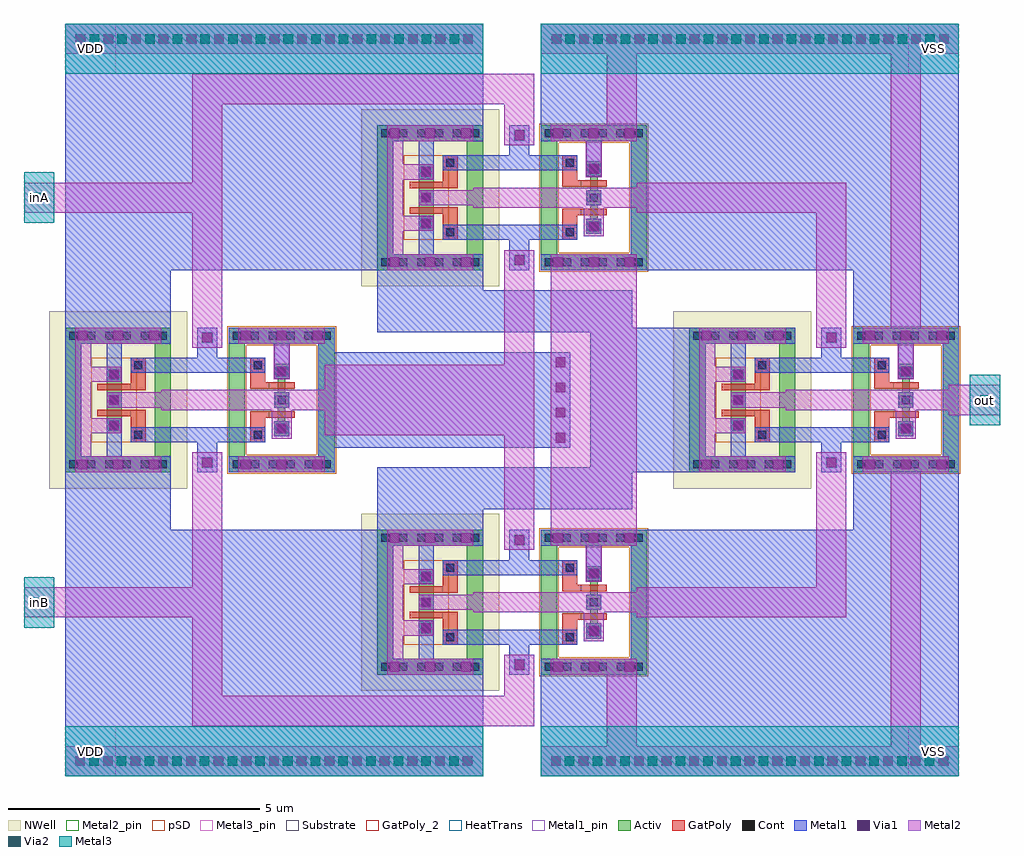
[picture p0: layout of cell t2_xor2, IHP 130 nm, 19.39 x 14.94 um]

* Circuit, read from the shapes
.subckt t2_xor2 VDD VSS inA inB out
XM1 n1 inB t2_nand2_0/inA VSS sg13_lv_nmos w=0.15u l=0.13u
XM2 VSS inA n1 VSS sg13_lv_nmos w=0.15u l=0.13u
XM3 n2 inB t2_nand2_2/inB VSS sg13_lv_nmos w=0.15u l=0.13u
XM4 VSS t2_nand2_0/inA n2 VSS sg13_lv_nmos w=0.15u l=0.13u
XM5 n3 t2_nand2_0/inA t2_nand2_2/inA VSS sg13_lv_nmos w=0.15u l=0.13u
XM6 VSS inA n3 VSS sg13_lv_nmos w=0.15u l=0.13u
XM7 n4 t2_nand2_2/inB out VSS sg13_lv_nmos w=0.15u l=0.13u
XM8 VSS t2_nand2_2/inA n4 VSS sg13_lv_nmos w=0.15u l=0.13u
XM9 t2_nand2_0/inA inB VDD VDD sg13_lv_pmos w=0.3u l=0.13u
XM10 VDD inA t2_nand2_0/inA VDD sg13_lv_pmos w=0.3u l=0.13u
XM11 t2_nand2_2/inB inB VDD VDD sg13_lv_pmos w=0.3u l=0.13u
XM12 VDD t2_nand2_0/inA t2_nand2_2/inB VDD sg13_lv_pmos w=0.3u l=0.13u
XM13 t2_nand2_2/inA t2_nand2_0/inA VDD VDD sg13_lv_pmos w=0.3u l=0.13u
XM14 VDD inA t2_nand2_2/inA VDD sg13_lv_pmos w=0.3u l=0.13u
XM15 out t2_nand2_2/inB VDD VDD sg13_lv_pmos w=0.3u l=0.13u
XM16 VDD t2_nand2_2/inA out VDD sg13_lv_pmos w=0.3u l=0.13u
.ends

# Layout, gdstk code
from math import pi, radians
import gdstk
lib = gdstk.Library(unit=1e-6, precision=1e-09)
def R(c, l, rs):  # rectangles x0, y0, x1, y1
    for r in rs: c.add(gdstk.rectangle(r[:2], r[2:], *l))
def A(c, l, x, y, w, h, nx, ny, dx, dy):  # array of equal rectangles
    R(c, l, [(x+i*dx, y+j*dy, x+i*dx+w, y+j*dy+h) for i in range(nx) for j in range(ny)])
Activ = (1, 0)
GatPoly = (5, 0)
GatPoly_2 = (5, 2)
Cont = (6, 0)
Metal1 = (8, 0)
Metal1_pin = (8, 2)
Metal2 = (10, 0)
Metal2_pin = (10, 2)
pSD = (14, 0)
Via1 = (19, 0)
Via2 = (29, 0)
Metal3 = (30, 0)
Metal3_pin = (30, 2)
NWell = (31, 0)
Substrate = (40, 0)
HeatTrans = (51, 0)

pmos = lib.new_cell('pmos')
R(pmos, Activ, [(0,0,0.3,0.3), (0,0,0.81,0.3), (0.51,0,0.81,0.3)])
R(pmos, GatPoly, [(0.34,-0.18,0.47,0.48), (0.34,-0.18,0.47,0.48)])
R(pmos, Cont, [(0.07,0.07,0.23,0.23), (0.58,0.07,0.74,0.23)])
R(pmos, Metal1, [(0.07,0,0.23,0.3), (0.07,0,0.23,0.3), (0.58,0,0.74,0.3), (0.58,0,0.74,0.3)])
R(pmos, pSD, [(-0.18,-0.3,0.99,0.6)])
R(pmos, NWell, [(-0.31,-0.31,1.12,0.61)])
R(pmos, Substrate, [(0.51,0,0.81,0.3)])
R(pmos, HeatTrans, [(0.34,-0.18,0.47,0.48)])
pmos.add(gdstk.Label('pmos', (0.405,0.15), layer=63, texttype=0))
pmos.add(gdstk.Label('pmos', (0.405,0.15), layer=51, texttype=0))

nmos = lib.new_cell('nmos')
R(nmos, Activ, [(0,0,0.3,0.3), (0.57,0,0.87,0.3), (0,0.075,0.87,0.225)])
R(nmos, GatPoly, [(0.37,-0.105,0.5,0.405)])
R(nmos, GatPoly_2, [(0.37,-0.105,0.5,0.405)])
R(nmos, Cont, [(0.07,0.07,0.23,0.23), (0.64,0.07,0.8,0.23)])
R(nmos, Metal1, [(0.07,0.02,0.23,0.28), (0.64,0.02,0.8,0.28)])
R(nmos, Metal1_pin, [(0.07,0.02,0.23,0.28), (0.64,0.02,0.8,0.28)])
R(nmos, HeatTrans, [(0.37,-0.105,0.5,0.405)])
nmos.add(gdstk.Label('nmos', (0.435,0.15), layer=63, texttype=0))
nmos.add(gdstk.Label('nmos', (0.435,0.15), layer=51, texttype=0))

t2_nand2 = lib.new_cell('t2_nand2')
R(t2_nand2, Activ, [(-6.22,-2.335,-3.66,-2.015), (-3.66,-2.335,-3.34,-0.555), (-6.22,-2.015,-5.9,-0.235), (-5.9,-0.555,-3.34,-0.235), (-6.22,0.915,-3.66,1.235), (-3.66,0.915,-3.34,2.695), (-6.22,1.235,-5.9,3.015), (-5.9,2.695,-3.34,3.015)])
R(t2_nand2, GatPoly, [(-5.13,-1.03,-5,-0.955), (-4.56,-1.03,-4.43,-0.955), (-5.62,-0.955,-5,-0.655), (-4.56,-0.955,-3.94,-0.655), (-5.62,1.415,-4.97,1.715), (-4.59,1.415,-3.94,1.715)])
A(t2_nand2, Cont, -3.58, -2.255, 0.16, 0.16, 1, 5, 0, 0.355)
A(t2_nand2, Cont, -6.14, -1.895, 0.16, 0.16, 1, 5, 0, 0.355)
A(t2_nand2, Cont, -6.14, 1.355, 0.16, 0.16, 1, 5, 0, 0.355)
A(t2_nand2, Cont, -3.58, 1.355, 0.16, 0.16, 1, 5, 0, 0.355)
R(t2_nand2, Cont, [(-6.14,-2.255,-5.98,-2.095), (-5.55,-0.885,-5.39,-0.725), (-4.17,-0.885,-4.01,-0.725), (-3.58,-0.475,-3.42,-0.315), (-6.14,0.995,-5.98,1.155), (-3.58,0.995,-3.42,1.155), (-5.55,1.485,-5.39,1.645), (-4.17,1.485,-4.01,1.645)])
R(t2_nand2, Metal1, [(-6.22,-2.335,-5.9,-0.235), (-5.9,-2.335,-3.66,-2.015), (-3.66,-2.335,-3.34,-0.235), (-5.9,-1.435,-5.205,-1.135), (-4.93,-1.435,-4.63,-1.135), (-4.36,-1.435,-4.06,-1.135), (-5.62,-0.955,-5.32,1.715), (-4.24,-0.955,-3.94,1.715), (-6.22,-0.005,-5.62,0.395), (-3.94,-0.005,-3.34,0.395), (-6.22,0.915,-5.9,3.015), (-3.66,0.915,-3.34,3.015), (-5.9,1.895,-5.145,2.195), (-4.93,1.895,-4.63,2.195), (-4.415,1.895,-3.66,2.195), (-5.9,2.695,-3.66,3.015)])
R(t2_nand2, Metal2, [(-6.22,-2.14,-5.9,-0.425), (-4.98,-2.14,-4.58,1.105), (-3.66,-2.14,-3.34,-0.425), (-4.58,-1.485,-4.01,-1.085), (-5.9,-1.445,-5.19,-1.125), (-6.22,-0.005,-5.82,0.395), (-3.74,-0.005,-3.34,0.395), (-6.22,1.105,-5.9,2.82), (-4.93,1.105,-4.63,2.19), (-3.66,1.105,-3.34,2.82), (-5.44,1.9,-5.14,2.5), (-4.42,1.9,-4.12,2.5), (-5.9,2.5,-3.66,2.82)])
R(t2_nand2, Metal2_pin, [(-5.455,-1.39,-5.245,-1.18), (-4.315,-1.39,-4.105,-1.18), (-6.125,0.09,-5.915,0.3), (-3.645,0.09,-3.435,0.3), (-5.395,1.94,-5.185,2.15), (-4.375,1.94,-4.165,2.15)])
R(t2_nand2, pSD, [(-6.25,-2.365,-3.69,-1.985), (-3.69,-2.365,-3.31,-0.585), (-6.25,-1.985,-5.87,-0.205), (-5.87,-0.585,-3.31,-0.205)])
A(t2_nand2, Via1, -5.385, 1.95, 0.19, 0.19, 3, 1, 0.51, 0)
R(t2_nand2, Via1, [(-6.155,-2.09,-5.965,-1.9), (-3.595,-2.09,-3.405,-1.9), (-5.445,-1.38,-5.255,-1.19), (-4.305,-1.38,-4.115,-1.19), (-3.595,-1.38,-3.405,-1.19), (-6.155,-1.375,-5.965,-1.185), (-6.155,-0.665,-5.965,-0.475), (-3.595,-0.665,-3.405,-0.475), (-6.115,0.1,-5.925,0.29), (-3.635,0.1,-3.445,0.29), (-6.155,1.155,-5.965,1.345), (-3.595,1.155,-3.405,1.345), (-6.155,1.87,-5.965,2.06), (-3.595,1.87,-3.405,2.06), (-6.155,2.58,-5.965,2.77), (-3.595,2.58,-3.405,2.77)])
R(t2_nand2, NWell, [(-6.54,0.595,-3.02,3.335)])
t2_nand2.add(gdstk.Reference(pmos, (-5.44,1.895)))
t2_nand2.add(gdstk.Reference(pmos, (-4.93,1.895)))
t2_nand2.add(gdstk.Reference(nmos, (-5.5,-1.435)))
t2_nand2.add(gdstk.Reference(nmos, (-4.93,-1.435)))
t2_nand2.add(gdstk.Label('VDD', (-5.29,2.045), layer=10, texttype=2))
t2_nand2.add(gdstk.Label('VDD', (-4.27,2.045), layer=10, texttype=2))
t2_nand2.add(gdstk.Label('VSS', (-5.35,-1.285), layer=10, texttype=2))
t2_nand2.add(gdstk.Label('out', (-4.21,-1.285), layer=10, texttype=2))
t2_nand2.add(gdstk.Label('inA', (-6.02,0.195), layer=10, texttype=2))
t2_nand2.add(gdstk.Label('inB', (-3.54,0.195), layer=10, texttype=2))

t2_xor2 = lib.new_cell('t2_xor2')
R(t2_xor2, Metal1, [(-5.77,-9.32,2.53,-7.31), (3.68,-9.32,11.98,-7.31), (-5.77,-7.31,-3.67,-3.29), (-3.67,-7.31,0.43,-4.43), (5.78,-7.31,9.88,-4.43), (9.88,-7.31,11.98,-3.29), (0.43,-4.43,2.53,-3.19), (2.53,-4.025,4.66,-3.19), (4.66,-4.025,5.495,0.33), (5.495,-3.29,6.63,-0.41), (-0.42,-2.8,4.26,-0.9), (0.43,-0.505,2.53,0.73), (2.53,-0.505,4.66,0.33), (-5.77,-0.41,-3.67,3.61), (9.88,-0.41,11.98,3.61), (-3.67,0.73,0.43,3.61), (5.78,0.73,9.88,3.61), (-5.77,3.61,2.53,5.62), (3.68,3.61,11.98,5.62)])
R(t2_xor2, Metal2, [(-5.77,-9.32,2.53,-8.73), (3.68,-9.32,11.98,-8.73), (4.985,-8.73,5.585,-7.31), (10.63,-8.73,11.23,-3.29), (-3.25,-8.33,-2.65,-2.89), (-2.65,-8.33,2.95,-7.73), (2.95,-8.33,3.55,-6.91), (-6.59,-6.17,-3.25,-5.57), (5.585,-6.17,9.15,-5.57), (9.15,-6.17,9.75,-2.89), (2.95,-4.83,3.55,1.13), (3.87,-4.43,5.585,0.73), (-0.615,-2.55,2.95,-1.15), (11.785,-2.15,12.8,-1.55), (-3.25,-0.81,-2.65,4.63), (9.15,-0.81,9.75,2.47), (10.63,-0.41,11.23,5.03), (-6.59,1.87,-3.25,2.47), (5.585,1.87,9.15,2.47), (2.95,3.21,3.55,4.63), (4.985,3.61,5.585,5.03), (-2.65,4.03,2.95,4.63), (-5.77,5.03,2.53,5.62), (3.68,5.03,11.98,5.62)])
A(t2_xor2, Via1, -5.57, -9.12, 0.19, 0.19, 15, 1, 0.55, 0)
A(t2_xor2, Via1, 3.88, -9.12, 0.19, 0.19, 15, 1, 0.55, 0)
A(t2_xor2, Via1, 3.97, -2.695, 0.19, 0.19, 1, 4, 0, 0.5)
A(t2_xor2, Via1, -5.56, 5.23, 0.19, 0.19, 15, 1, 0.55, 0)
A(t2_xor2, Via1, 3.89, 5.23, 0.19, 0.19, 15, 1, 0.55, 0)
A(t2_xor2, Via2, -5.295, -9.12, 0.19, 0.19, 14, 1, 0.55, 0)
A(t2_xor2, Via2, 4.155, -9.12, 0.19, 0.19, 14, 1, 0.55, 0)
A(t2_xor2, Via2, -5.285, 5.23, 0.19, 0.19, 14, 1, 0.55, 0)
A(t2_xor2, Via2, 4.165, 5.23, 0.19, 0.19, 14, 1, 0.55, 0)
R(t2_xor2, Via2, [(-6.385,-5.965,-6.195,-5.775), (12.405,-1.945,12.595,-1.755), (-6.385,2.075,-6.195,2.265)])
R(t2_xor2, Metal3, [(-5.77,-9.32,2.53,-8.33), (3.68,-9.32,11.98,-8.33), (-6.59,-6.37,-5.99,-5.37), (12.2,-2.35,12.8,-1.35), (-6.59,1.67,-5.99,2.67), (-5.77,4.63,2.53,5.62), (3.68,4.63,11.98,5.62)])
R(t2_xor2, Metal3_pin, [(-5.77,-9.32,-4.77,-8.33), (10.98,-9.32,11.98,-8.33), (-6.59,-6.17,-5.99,-5.57), (12.2,-2.15,12.8,-1.55), (-6.59,1.87,-5.99,2.47), (-5.77,4.63,-4.77,5.62), (10.98,4.63,11.98,5.62)])
t2_xor2.add(gdstk.Reference(t2_nand2, (3.445,-10.65), rotation=3*pi/2, x_reflection=True))
t2_xor2.add(gdstk.Reference(t2_nand2, (3.445,-2.61), rotation=3*pi/2, x_reflection=True))
t2_xor2.add(gdstk.Reference(t2_nand2, (9.645,-6.63), rotation=3*pi/2, x_reflection=True))
t2_xor2.add(gdstk.Reference(t2_nand2, (-2.755,-6.63), rotation=3*pi/2, x_reflection=True))
t2_xor2.add(gdstk.Label('inB', (-6.29,-5.87), layer=30, texttype=2))
t2_xor2.add(gdstk.Label('out', (12.5,-1.85), layer=30, texttype=2))
t2_xor2.add(gdstk.Label('inA', (-6.29,2.17), layer=30, texttype=2))
t2_xor2.add(gdstk.Label('VDD', (-5.27,5.125), layer=30, texttype=2))
t2_xor2.add(gdstk.Label('VSS', (11.48,5.125), layer=30, texttype=2))
t2_xor2.add(gdstk.Label('VDD', (-5.27,-8.825), layer=30, texttype=2))
t2_xor2.add(gdstk.Label('VSS', (11.48,-8.825), layer=30, texttype=2))

lib.write_gds('t2_xor2.gds')
